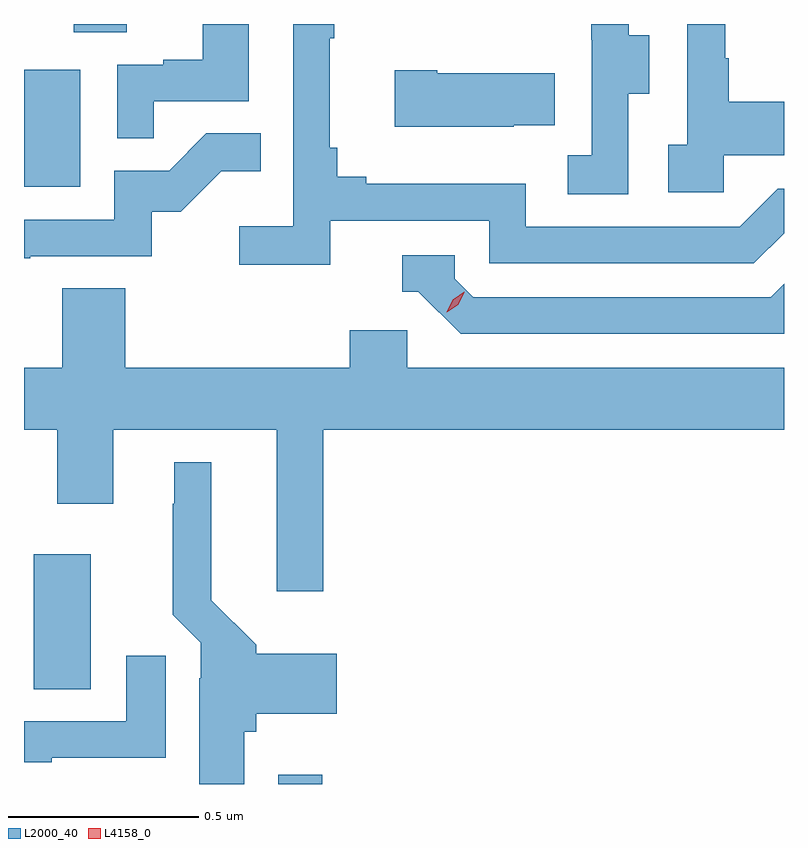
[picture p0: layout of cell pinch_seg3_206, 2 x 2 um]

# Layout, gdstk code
import gdstk
lib = gdstk.Library(unit=1e-6, precision=1e-09)
def R(c, l, rs):  # rectangles x0, y0, x1, y1
    for r in rs: c.add(gdstk.rectangle(r[:2], r[2:], *l))
def P(c, l, *ps):  # polygons
    for p in ps: c.add(gdstk.Polygon(p, *l))
L2000_40 = (2000, 40)
L4158_0 = (4158, 0)

pinch_seg3_206 = lib.new_cell('pinch_seg3_206')
R(pinch_seg3_206, L2000_40, [(969.423,742.608,969.539,742.633), (968.78,742.858,968.929,743.212), (968.754,744.18,968.902,744.487), (968.885,744.586,969.025,744.608)])
P(pinch_seg3_206, L2000_40, [(970.344,744.424),(970.399,744.424),(970.399,744.579),(970.345,744.579),(970.345,744.608),(970.247,744.608),(970.247,744.567),(970.248,744.567),(970.248,744.263),(970.185,744.263),(970.185,744.16),(970.344,744.16)],
  [(969.56,744.09),(969.978,744.09),(969.978,743.979),(970.675,743.979),(970.754,744.058),(970.754,744.174),(970.737,744.174),(970.638,744.075),(970.074,744.075),(970.074,744.187),(969.655,744.187),(969.655,744.206),(969.578,744.206),(969.578,744.283),(969.559,744.283),(969.559,744.571),(969.571,744.571),(969.571,744.608),(969.462,744.608),(969.462,744.076),(969.321,744.076),(969.321,743.974),(969.56,743.974)],
  [(970.596,744.263),(970.754,744.263),(970.754,744.403),(970.609,744.403),(970.609,744.518),(970.599,744.518),(970.599,744.608),(970.5,744.608),(970.5,744.29),(970.449,744.29),(970.449,744.165),(970.596,744.165)],
  [(969.095,744.405),(969.346,744.405),(969.346,744.608),(969.224,744.608),(969.224,744.514),(969.121,744.514),(969.121,744.501),(969,744.501),(969,744.307),(969.095,744.307)],
  [(970.043,744.341),(970.151,744.341),(970.151,744.478),(969.841,744.478),(969.841,744.486),(969.729,744.486),(969.729,744.338),(970.043,744.338)],
  [(968.771,743.997),(969.09,743.997),(969.09,744.114),(969.166,744.114),(969.273,744.221),(969.377,744.221),(969.377,744.32),(969.234,744.32),(969.136,744.222),(968.991,744.222),(968.991,744.093),(968.754,744.093),(968.754,743.992),(968.771,743.992)],
  [(970.754,743.924),(970.719,743.889),(969.936,743.889),(969.888,743.937),(969.888,744),(969.749,744),(969.749,743.904),(969.792,743.904),(969.903,743.793),(970.754,743.793)],
  [(969.542,743.54),(970.754,743.54),(970.754,743.704),(969.762,743.704),(969.762,743.802),(969.611,743.802),(969.611,743.704),(969.02,743.704),(969.02,743.912),(968.855,743.912),(968.855,743.704),(968.754,743.704),(968.754,743.54),(968.842,743.54),(968.842,743.346),(968.989,743.346),(968.989,743.54),(969.419,743.54),(969.419,743.115),(969.542,743.115)],
  [(969.334,742.746),(969.365,742.746),(969.365,742.793),(969.577,742.793),(969.577,742.951),(969.365,742.951),(969.365,742.974),(969.247,743.092),(969.247,743.455),(969.149,743.455),(969.149,743.345),(969.145,743.345),(969.145,743.054),(969.219,742.98),(969.219,742.886),(969.215,742.886),(969.215,742.608),(969.334,742.608)],
  [(968.827,742.677),(969.127,742.677),(969.127,742.945),(969.023,742.945),(969.023,742.773),(968.754,742.773),(968.754,742.665),(968.827,742.665)])
P(pinch_seg3_206, L4158_0, [(969.866,743.85),(969.866,743.85),(969.882,743.883),(969.913,743.903),(969.913,743.903),(969.913,743.902),(969.897,743.869),(969.866,743.85)])

lib.write_gds('pinch_seg3_206.gds')
